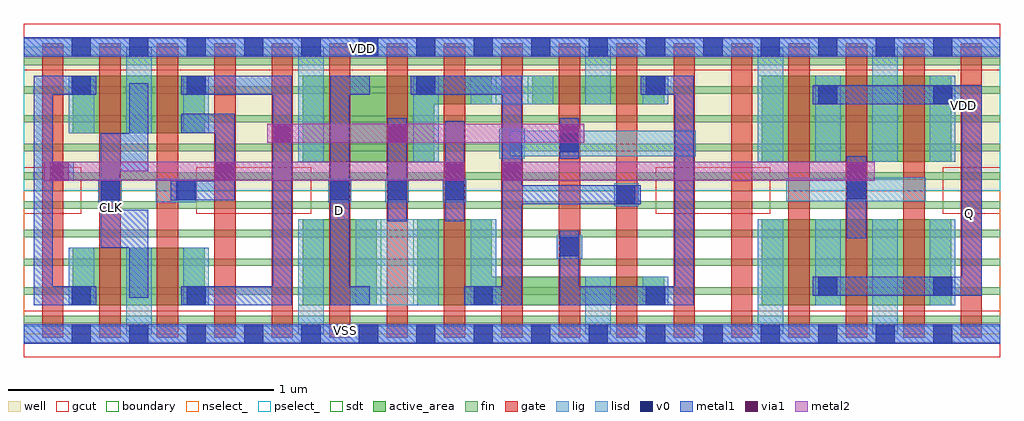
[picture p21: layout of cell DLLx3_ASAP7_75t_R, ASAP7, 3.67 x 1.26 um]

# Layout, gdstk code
import gdstk
lib = gdstk.Library(unit=1e-6, precision=2.5e-10)
def R(c, l, rs):  # rectangles x0, y0, x1, y1
    for r in rs: c.add(gdstk.rectangle(r[:2], r[2:], *l))
def A(c, l, x, y, w, h, nx, ny, dx, dy):  # array of equal rectangles
    R(c, l, [(x+i*dx, y+j*dy, x+i*dx+w, y+j*dy+h) for i in range(nx) for j in range(ny)])
def P(c, l, *ps):  # polygons
    for p in ps: c.add(gdstk.Polygon(p, *l))
well = (1, 0)
fin = (2, 0)
gate = (7, 0)
gcut = (10, 0)
active_area = (11, 0)
nselect_ = (12, 0)
pselect_ = (13, 0)
lig = (16, 0)
lisd = (17, 0)
v0 = (18, 0)
metal1 = (19, 0)
metal2 = (20, 0)
via1 = (21, 0)
sdt = (88, 0)
boundary = (100, 0)

dllx3_asap7_75t_r = lib.new_cell('DLLx3_ASAP7_75t_R')
R(dllx3_asap7_75t_r, well, [(0,0.54,3.672,1.08)])
A(dllx3_asap7_75t_r, fin, 0, 0.04, 3.672, 0.028, 1, 10, 0, 0.108)
A(dllx3_asap7_75t_r, gate, 0.068, -0.014, 0.08, 1.108, 17, 1, 0.216, 0)
R(dllx3_asap7_75t_r, gcut, [(0,-0.088,3.672,0.088), (0,0.452,0.216,0.628), (0.648,0.452,1.08,0.628), (2.376,0.452,2.808,0.628), (3.456,0.452,3.672,0.628), (0,0.992,3.672,1.168)])
R(dllx3_asap7_75t_r, active_area, [(0.184,0.108,0.68,0.324), (1.048,0.108,1.328,0.432), (2.776,0.108,3.488,0.432), (2.776,0.648,3.488,0.972), (0.184,0.756,0.68,0.972), (1.912,0.864,2.408,0.972)])
P(dllx3_asap7_75t_r, active_area, [(1.48,0.108),(1.48,0.432),(1.76,0.432),(1.76,0.216),(2.408,0.216),(2.408,0.108)],
  [(1.048,0.648),(1.048,0.972),(1.76,0.972),(1.76,0.864),(1.544,0.864),(1.544,0.648)])
R(dllx3_asap7_75t_r, nselect_, [(0,0,3.672,0.54)])
R(dllx3_asap7_75t_r, pselect_, [(0,0.54,3.672,1.08)])
A(dllx3_asap7_75t_r, lig, 1.144, 0.496, 0.088, 0.088, 3, 1, 0.216, 0)
R(dllx3_asap7_75t_r, lig, [(0,-0.032,3.672,0.032), (2.004,0.284,2.1,0.372), (2.22,0.48,2.312,0.568), (0.28,0.496,0.368,0.584), (0.496,0.496,0.648,0.584), (2.868,0.5,3.392,0.588), (1.788,0.66,1.884,0.772), (0,1.048,3.672,1.112)])
R(dllx3_asap7_75t_r, lisd, [(0.384,0,0.48,0.324), (1.032,0,1.128,0.432), (2.112,0,2.208,0.216), (2.76,0,2.856,0.432), (3.192,0,3.288,0.432), (0.168,0.108,0.264,0.324), (0.6,0.108,0.696,0.324), (1.248,0.108,1.56,0.432), (1.68,0.108,1.776,0.432), (2.328,0.108,2.424,0.216), (2.976,0.108,3.072,0.432), (3.408,0.108,3.504,0.432), (1.032,0.648,1.128,1.08), (1.464,0.648,1.56,0.972), (2.76,0.648,2.856,1.08), (2.976,0.648,3.072,0.972), (3.192,0.648,3.288,1.08), (3.408,0.648,3.504,0.972), (1.828,0.668,2.528,0.764), (0.168,0.756,0.264,0.972), (0.384,0.756,0.48,1.08), (0.6,0.756,0.696,0.972), (1.68,0.864,1.992,0.972), (2.112,0.864,2.208,1.08), (2.328,0.864,2.424,0.972)])
A(dllx3_asap7_75t_r, v0, 0.18, -0.036, 0.072, 0.072, 16, 2, 0.216, 1.08)
A(dllx3_asap7_75t_r, v0, 1.152, 0.504, 0.072, 0.072, 3, 1, 0.216, 0)
A(dllx3_asap7_75t_r, v0, 0.612, 0.9, 0.072, 0.072, 3, 1, 0.864, 0)
R(dllx3_asap7_75t_r, v0, [(0.18,0.108,0.252,0.18), (0.612,0.108,0.684,0.18), (1.692,0.108,1.764,0.18), (2.34,0.108,2.412,0.18), (2.988,0.144,3.06,0.216), (3.42,0.144,3.492,0.216), (2.016,0.292,2.088,0.364), (2.228,0.488,2.3,0.56), (0.288,0.504,0.36,0.576), (0.572,0.504,0.644,0.576), (3.096,0.508,3.168,0.58), (2.016,0.684,2.088,0.756), (2.988,0.864,3.06,0.936), (3.42,0.864,3.492,0.936), (0.18,0.9,0.252,0.972)])
R(dllx3_asap7_75t_r, metal1, [(0,-0.036,3.672,0.036), (3.096,0.36,3.168,0.668), (1.368,0.424,1.44,0.812), (1.584,0.424,1.656,0.8), (2.016,0.66,2.088,0.812), (0,1.044,3.672,1.116)])
P(dllx3_asap7_75t_r, metal1, [(2.968,0.144),(2.968,0.216),(3.528,0.216),(3.528,0.864),(2.968,0.864),(2.968,0.936),(3.604,0.936),(3.604,0.144)],
  [(2.016,0.108),(2.016,0.388),(2.088,0.388),(2.088,0.18),(2.448,0.18),(2.448,0.9),(2.32,0.9),(2.32,0.972),(2.52,0.972),(2.52,0.108)],
  [(1.656,0.108),(1.656,0.18),(1.8,0.18),(1.8,0.9),(1.456,0.9),(1.456,0.972),(1.872,0.972),(1.872,0.56),(2.32,0.56),(2.32,0.488),(1.872,0.488),(1.872,0.108)],
  [(1.152,0.108),(1.152,0.972),(1.3,0.972),(1.3,0.9),(1.224,0.9),(1.224,0.18),(1.3,0.18),(1.3,0.108)],
  [(0.592,0.108),(0.592,0.18),(0.936,0.18),(0.936,0.9),(0.592,0.9),(0.592,0.972),(1.008,0.972),(1.008,0.108)],
  [(0.552,0.504),(0.552,0.576),(0.72,0.576),(0.72,0.756),(0.592,0.756),(0.592,0.828),(0.792,0.828),(0.792,0.504)],
  [(0.396,0.136),(0.396,0.324),(0.288,0.324),(0.288,0.756),(0.396,0.756),(0.396,0.944),(0.468,0.944),(0.468,0.612),(0.36,0.612),(0.36,0.468),(0.468,0.468),(0.468,0.136)],
  [(0.036,0.108),(0.036,0.972),(0.272,0.972),(0.272,0.9),(0.108,0.9),(0.108,0.648),(0.188,0.648),(0.188,0.576),(0.108,0.576),(0.108,0.18),(0.272,0.18),(0.272,0.108)])
R(dllx3_asap7_75t_r, metal2, [(0.076,0.576,1.656,0.648), (1.8,0.576,3.2,0.648), (0.916,0.72,2.108,0.792)])
R(dllx3_asap7_75t_r, via1, [(0.096,0.576,0.168,0.648), (0.72,0.576,0.792,0.648), (1.584,0.576,1.656,0.648), (1.8,0.576,1.872,0.648), (3.096,0.576,3.168,0.648), (0.936,0.72,1.008,0.792), (1.368,0.72,1.44,0.792), (2.016,0.72,2.088,0.792)])
A(dllx3_asap7_75t_r, sdt, 0.168, 0.108, 0.096, 0.216, 3, 2, 0.216, 0.648)
A(dllx3_asap7_75t_r, sdt, 1.032, 0.108, 0.096, 0.324, 4, 1, 0.216, 0)
A(dllx3_asap7_75t_r, sdt, 2.76, 0.108, 0.096, 0.324, 4, 2, 0.216, 0.54)
A(dllx3_asap7_75t_r, sdt, 1.68, 0.864, 0.096, 0.108, 4, 1, 0.216, 0)
R(dllx3_asap7_75t_r, sdt, [(2.112,0.108,2.208,0.216), (2.328,0.108,2.424,0.216), (1.032,0.648,1.128,0.972), (1.464,0.648,1.56,0.972)])
R(dllx3_asap7_75t_r, boundary, [(0,0,3.672,1.08)])
dllx3_asap7_75t_r.add(gdstk.Label('Q', (3.556,0.452), layer=19, texttype=251))
dllx3_asap7_75t_r.add(gdstk.Label('VSS', (1.208,0.012), layer=19, texttype=251))
dllx3_asap7_75t_r.add(gdstk.Label('VDD', (1.272,1.076), layer=19, texttype=251))
dllx3_asap7_75t_r.add(gdstk.Label('CLK', (0.328,0.476), layer=19, texttype=251))
dllx3_asap7_75t_r.add(gdstk.Label('D', (1.188,0.466), layer=19, texttype=251))
dllx3_asap7_75t_r.add(gdstk.Label('VDD', (3.536,0.86), layer=1, texttype=251))
dllx3_asap7_75t_r.add(gdstk.Label('VSS', (3.812,0.856), layer=3, texttype=251))

lib.write_gds('DLLx3_ASAP7_75t_R.gds')
